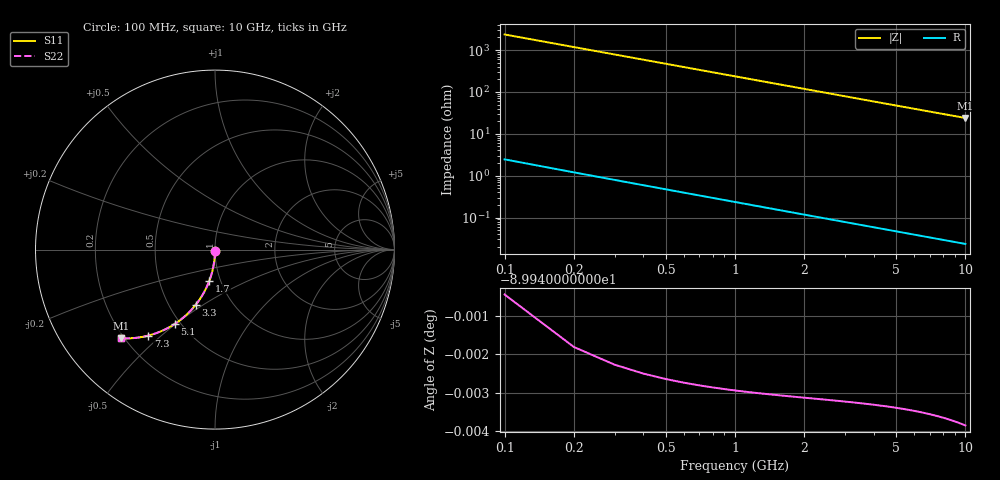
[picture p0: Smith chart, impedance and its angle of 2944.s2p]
# Hz S RI R 50.00
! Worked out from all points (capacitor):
!   100 points, 100 MHz to 10 GHz, reference 50 ohm
!   read as one part in shunt: C = 674 fF near 100 MHz
!   lowest |Z| = 23.9 ohm at 10 GHz (marker M1)
!   S11 on the Smith chart (normalised r, x): 100 MHz: 1.00, -0.02; 1.7 GHz: 0.89, -0.32; 3.3 GHz: 0.67, -0.47; 5.1 GHz: 0.47, -0.50; 7.3 GHz: 0.30, -0.45; 10 GHz: 0.19, -0.38
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1e8  -0.000109 -0.0105  0.9999 -0.0106  0.9999 -0.0106  -0.000109 -0.0105
2e8  -0.000456 -0.0211  0.9995 -0.0213  0.9995 -0.0213  -0.000456 -0.0211
3e8  -0.00103 -0.0316  0.9989 -0.0319  0.9989 -0.0319  -0.00103 -0.0316
4e8  -0.00182 -0.0421  0.9982 -0.0425  0.9982 -0.0425  -0.00182 -0.0421
5e8  -0.00283 -0.0525  0.9971 -0.053  0.9971 -0.053  -0.00283 -0.0525
6e8  -0.00407 -0.0629  0.9959 -0.0635  0.9959 -0.0635  -0.00407 -0.0629
8e8  -0.00719 -0.0837  0.9928 -0.0845  0.9928 -0.0845  -0.00719 -0.0837
9e8  -0.00907 -0.0939  0.9909 -0.0948  0.9909 -0.0948  -0.00907 -0.0939
1.1e9  -0.0135 -0.1143  0.9865 -0.1154  0.9865 -0.1154  -0.0135 -0.1143
1.4e9  -0.0216 -0.1442  0.9784 -0.1456  0.9784 -0.1456  -0.0216 -0.1442
1.7e9  -0.0315 -0.1733  0.9685 -0.175  0.9685 -0.175  -0.0315 -0.1733
1.8e9  -0.0351 -0.1828  0.9648 -0.1846  0.9648 -0.1846  -0.0351 -0.1828
2.1e9  -0.0472 -0.2105  0.9528 -0.2126  0.9528 -0.2126  -0.0472 -0.2105
2.5e9  -0.0655 -0.2457  0.9345 -0.2482  0.9345 -0.2482  -0.0655 -0.2457
3.3e9  -0.1086 -0.309  0.8914 -0.3123  0.8914 -0.3123  -0.1086 -0.309
3.4e9  -0.1145 -0.3162  0.8855 -0.3196  0.8855 -0.3196  -0.1145 -0.3162
4.2e9  -0.1645 -0.3682  0.8354 -0.3724  0.8354 -0.3724  -0.1645 -0.3682
5.1e9  -0.2247 -0.4143  0.7753 -0.4195  0.7753 -0.4195  -0.2247 -0.4143
6.7e9  -0.3327 -0.4673  0.6672 -0.4741  0.6672 -0.4741  -0.3327 -0.4673
7.3e9  -0.3716 -0.479  0.6283 -0.4864  0.6283 -0.4864  -0.3716 -0.479
8.4e9  -0.4387 -0.4915  0.5612 -0.5  0.5612 -0.5  -0.4387 -0.4915
1e10  -0.525 -0.4937  0.4749 -0.504  0.4749 -0.504  -0.525 -0.4937
